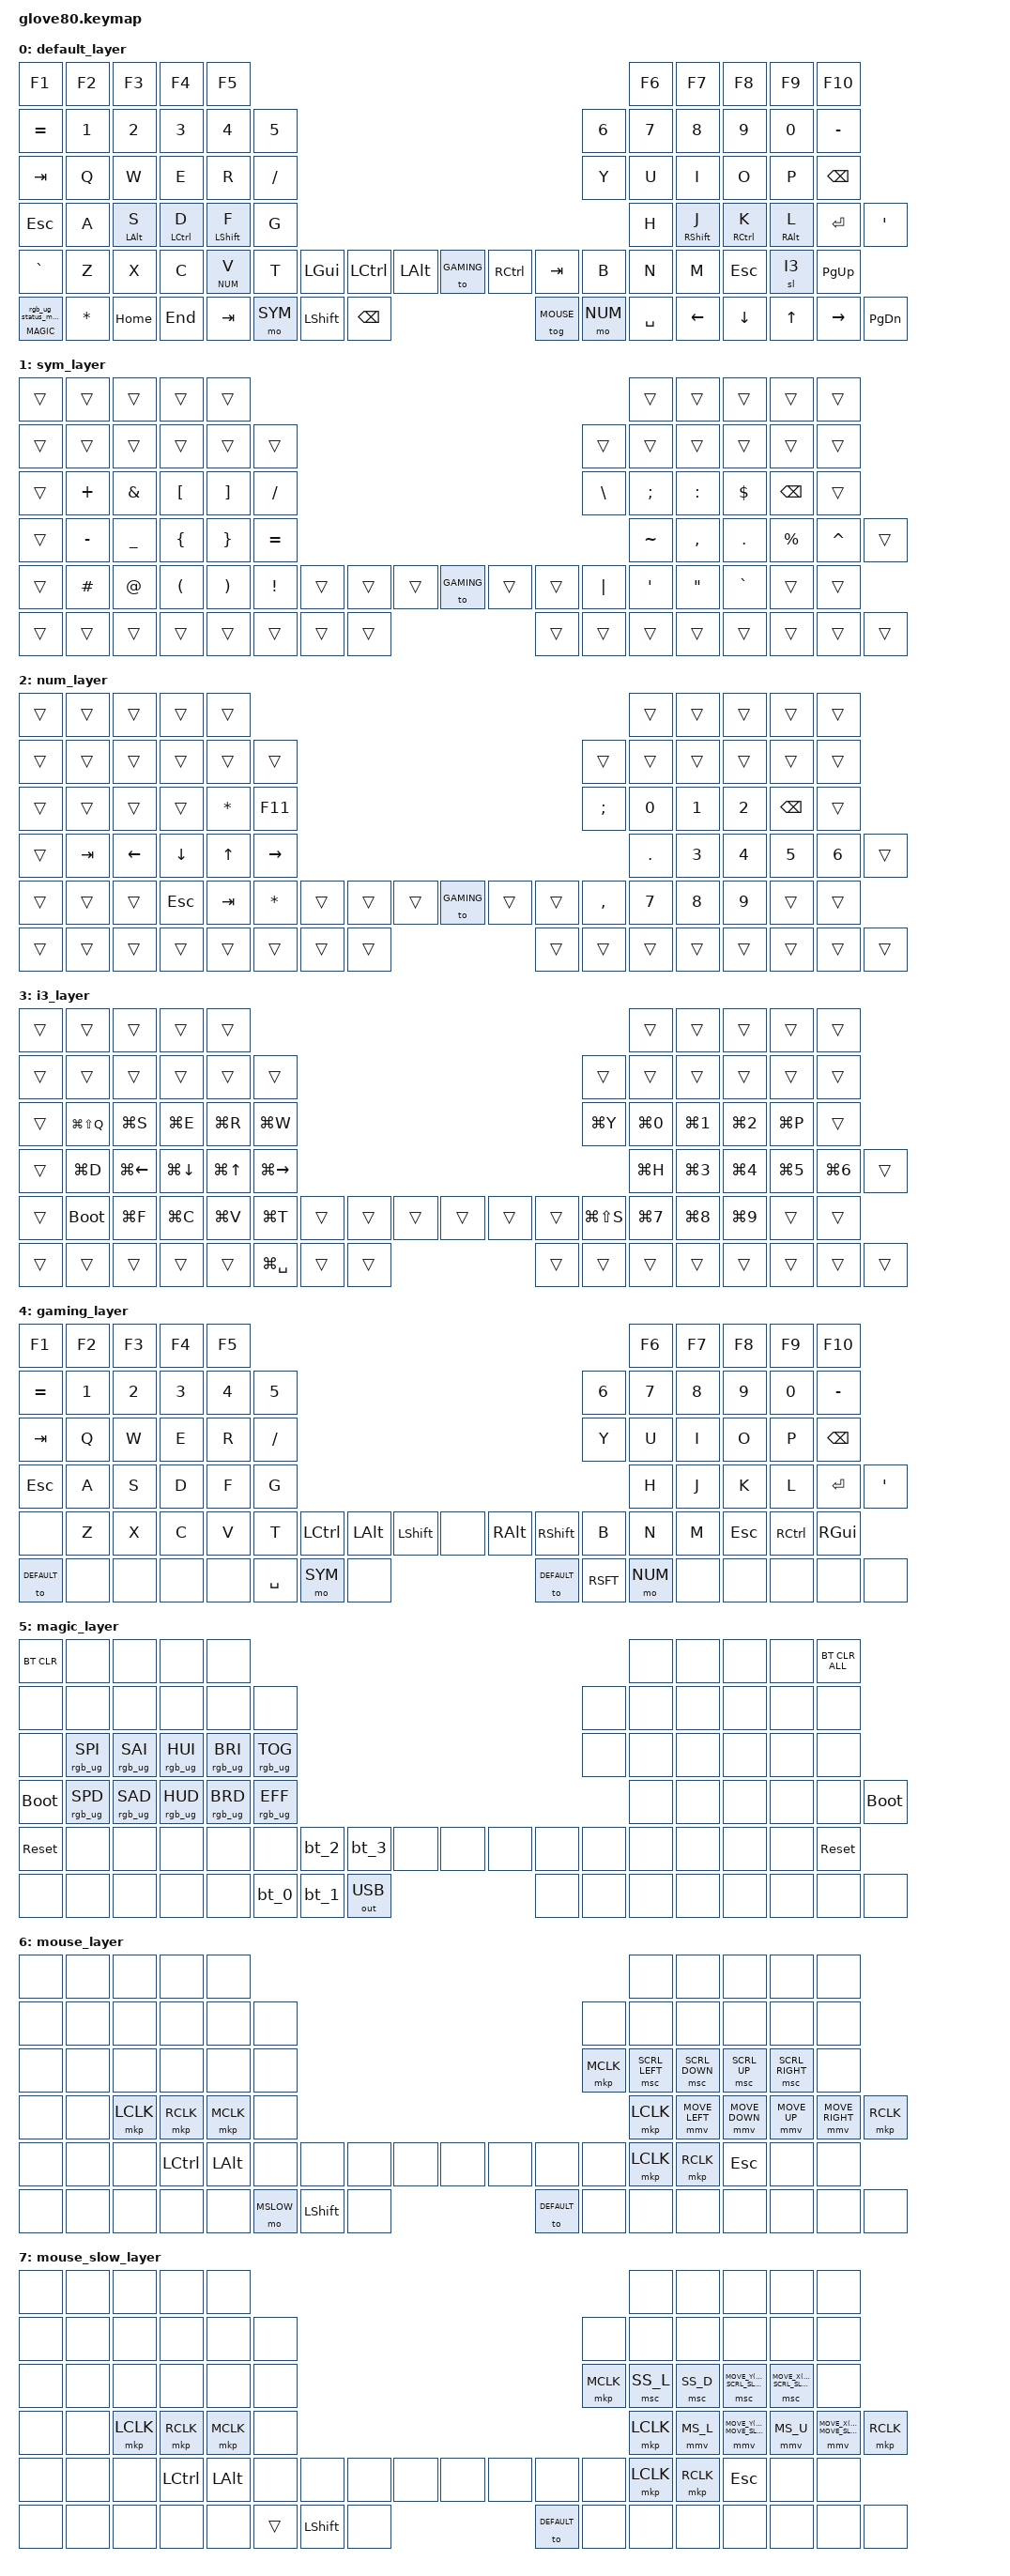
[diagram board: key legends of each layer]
/*
 * Copyright (c) 2020 The ZMK Contributors
 *
 * SPDX-License-Identifier: MIT
 */

#include <behaviors.dtsi>
#include <dt-bindings/zmk/keys.h>
#include <dt-bindings/zmk/bt.h>
#include <dt-bindings/zmk/ext_power.h>
#include <dt-bindings/zmk/outputs.h>
#include <dt-bindings/zmk/rgb.h>

#define ZMK_POINTING_DEFAULT_MOVE_VAL 1500
#define ZMK_POINTING_DEFAULT_SCRL_VAL 20
#include <dt-bindings/zmk/mouse.h>

#define DEFAULT 0
#define SYM     1
#define NUM     2
#define I3      3
#define GAMING  4
#define MAGIC   5
#define MOUSE   6
#define MSLOW   7

#define U_MOUSE_MOVE_SLOW 200
#define U_MOUSE_SCRL_SLOW 4

#define MS_U MOVE_Y(-U_MOUSE_MOVE_SLOW)
#define MS_D MOVE_Y(U_MOUSE_MOVE_SLOW)
#define MS_L MOVE_X(-U_MOUSE_MOVE_SLOW)
#define MS_R MOVE_X(U_MOUSE_MOVE_SLOW)
#define SS_U MOVE_Y(U_MOUSE_SCRL_SLOW)
#define SS_D MOVE_Y(-U_MOUSE_SCRL_SLOW)
#define SS_L MOVE_X(-U_MOUSE_SCRL_SLOW)
#define SS_R MOVE_X(U_MOUSE_SCRL_SLOW)

#define U_MOUSE_MOVE_SLOW 200
#define U_MOUSE_SCRL_SLOW 4

&sl {
    ignore-modifiers;
};

/ {
    behaviors {
        // left hand homerow mod — only triggers hold on right-hand keypresses
        hml: home_row_left {
            compatible = "zmk,behavior-hold-tap";
            #binding-cells = <2>;
            flavor = "balanced";
            tapping-term-ms = <280>;
            quick-tap-ms = <175>;
            require-prior-idle-ms = <150>;
            bindings = <&kp>, <&kp>;
            hold-trigger-on-release;
            hold-trigger-key-positions = <
                5  6  7  8  9
                16 17 18 19 20 21
                28 29 30 31 32 33
                40 41 42 43 44 45
                58 59 60 61 62 63
                75 76 77 78 79
                55 56 57 72 73 74
            >;
        };

        // right hand homerow mod — only triggers hold on left-hand keypresses
        hmr: home_row_right {
            compatible = "zmk,behavior-hold-tap";
            #binding-cells = <2>;
            flavor = "balanced";
            tapping-term-ms = <280>;
            quick-tap-ms = <175>;
            require-prior-idle-ms = <150>;
            bindings = <&kp>, <&kp>;
            hold-trigger-on-release;
            hold-trigger-key-positions = <
                0  1  2  3  4
                10 11 12 13 14 15
                22 23 24 25 26 27
                34 35 36 37 38 39
                46 47 48 49 50 51
                64 65 66 67 68
                52 53 54 69 70 71
            >;
        };

        magic: magic_hold_tap {
            compatible = "zmk,behavior-hold-tap";
            label = "MAGIC_HOLD_TAP";
            #binding-cells = <2>;
            flavor = "tap-preferred";
            tapping-term-ms = <200>;
            bindings = <&mo>, <&rgb_ug_status_macro>;
        };
    };

    combos {
        compatible = "zmk,combos";
        combo_zx_gui {
            timeout-ms = <50>;
            key-positions = <47 48>;
            bindings = <&sk LGUI>;
        };
    };

    macros {
        rgb_ug_status_macro: rgb_ug_status_macro_0 {
            label = "RGB_UG_STATUS";
            compatible = "zmk,behavior-macro";
            #binding-cells = <0>;
            bindings
                = <&rgb_ug RGB_STATUS>;
        };

        bt_0: bt_profile_macro_0 {
            label = "BT_0";
            compatible = "zmk,behavior-macro";
            #binding-cells = <0>;
            bindings
                = <&out OUT_BLE>,
                  <&bt BT_SEL 0>;
        };

        bt_1: bt_profile_macro_1 {
            label = "BT_1";
            compatible = "zmk,behavior-macro";
            #binding-cells = <0>;
            bindings
                = <&out OUT_BLE>,
                  <&bt BT_SEL 1>;
        };

        bt_2: bt_profile_macro_2 {
            label = "BT_2";
            compatible = "zmk,behavior-macro";
            #binding-cells = <0>;
            bindings
                = <&out OUT_BLE>,
                  <&bt BT_SEL 2>;
        };

        bt_3: bt_profile_macro_3 {
            label = "BT_3";
            compatible = "zmk,behavior-macro";
            #binding-cells = <0>;
            bindings
                = <&out OUT_BLE>,
                  <&bt BT_SEL 3>;
        };
    };

    keymap {
        compatible = "zmk,keymap";

        default_layer {
            // ---------------------------------------------------------------------------------------------------------------------------------
            // |  F1   |  F2 |  F3 |  F4  |  F5  |                                                               |  F6   |  F7   |  F8  |   F9  |  F10 |
            // |  =    |  1  |  2  |  3   |  4   |  5   |                                                 |  6   |   7   |   8   |  9   |   0   |   -  |
            // |  TAB  |  Q  |  W  |  E   |  R   |  /   |                                                 |  Y   |   U   |   I   |  O   |   P   |   \  |
            // |  ESC  |  A  | A/S | C/D  | S/F  |  G   |                                                 |  H   |  S/J  |  C/K  | A/L  |  RET  |   '  |
            // |   `   |  Z  |  X  |  C   |NUM/V |  T   | LSHFT | LCTRL | LALT  | | RALT  | RCTRL | RSHFT |  B   |   N   |   M   | ESC  |  i3   | PGUP |
            // | MAGIC | HOME| END | LEFT | RIGHT|      | BSPC  | DEL   | SYM   | | SPC   |  NUM  |       |      |  UP   | DOWN  |  [   |   ]   | PGDN |

            bindings = <
            &kp F1         &kp F2   &kp F3      &kp F4      &kp F5                                                                                                    &kp F6  &kp F7         &kp F8         &kp F9      &kp F10
            &kp EQUAL      &kp N1   &kp N2      &kp N3      &kp N4      &kp N5                                                                              &kp N6    &kp N7  &kp N8         &kp N9         &kp N0      &kp MINUS
            &kp TAB        &kp Q    &kp W       &kp E       &kp R       &kp FSLH                                                                             &kp Y     &kp U   &kp I          &kp O          &kp P       &kp BSPC
            &kp ESC        &kp A    &hml LALT S  &hml LCTRL D  &hml LSHFT F  &kp G                                                                           &kp H     &hmr RSHFT J  &hmr RCTRL K  &hmr RALT L  &kp RET         &kp SQT
            &kp GRAVE      &kp Z    &kp X       &kp C       &lt NUM V   &kp T   &kp LGUI    &kp LCTRL   &kp LALT   &to GAMING  &kp RCTRL &kp TAB             &kp B     &kp N   &kp M          &kp ESC        &sl I3      &kp PG_UP
            &magic MAGIC 0 &kp ASTRK  &kp HOME     &kp END    &kp TAB           &mo SYM     &kp LSHFT   &kp BSPC    &tog MOUSE &mo NUM   &kp SPACE                           &kp LEFT &kp DOWN       &kp UP         &kp RIGHT   &kp PG_DN
            >;
        };

        sym_layer {
            // ---------------------------------------------------------------------------------------------------------------------------------
            // symbols layer — matches altair_x layer 1
            // |       |     |     |      |      |                                                               |       |       |      |       |      |
            // |       |     |     |      |      |      |                                                 |      |       |       |      |       |      |
            // |       |  +  |  &  |  [   |  ]   |  /   |                                                 |  \   |   ;   |   :   |  $   | BSPC  |      |
            // |       |  -  |  _  |  {   |  }   |  =   |                                                 |  ~   |   ,   |   .   |  %   |   ^   |      |
            // |       |  #  |  @  |  (   |  )   |  !   |       |       |       | |GAMING|       |       |  |   |   '   |   "   |  `   |       |      |
            // |       |     |     |      |      |      |       |       |       | |       |       |       |      |       |       |      |       |      |

            bindings = <
            &trans         &trans     &trans      &trans      &trans                                                                                                      &trans        &trans       &trans         &trans      &trans
            &trans         &trans     &trans      &trans      &trans      &trans                                                                              &trans      &trans        &trans       &trans         &trans      &trans
            &trans         &kp PLUS   &kp AMPS    &kp LBKT    &kp RBKT    &kp FSLH                                                                           &kp BSLH    &kp SEMI      &kp COLON    &kp DLLR       &kp BSPC    &trans
            &trans         &kp MINUS  &kp UNDER   &kp LBRC    &kp RBRC    &kp EQUAL                                                                          &kp TILDE   &kp COMMA     &kp DOT      &kp PRCNT      &kp CARET   &trans
            &trans         &kp HASH   &kp AT      &kp LPAR    &kp RPAR    &kp EXCL  &trans      &trans      &trans     &to GAMING &trans   &trans             &kp PIPE    &kp SQT       &kp DQT      &kp GRAVE      &trans      &trans
            &trans         &trans     &trans      &trans      &trans                &trans      &trans      &trans     &trans     &trans   &trans                         &trans        &trans       &trans         &trans      &trans
            >;
        };

        num_layer {
            // ---------------------------------------------------------------------------------------------------------------------------------
            // num + nav layer — matches altair_x layer 2
            // |       |     |     |      |      |                                                               |       |       |      |       |      |
            // |       |     |     |      |      |      |                                                 |      |       |       |      |       |      |
            // |       |     |     |      |  *   | F11  |                                                 |  ;   |   0   |   1   |  2   | BSPC  |      |
            // |       | TAB | LEFT| DOWN |  UP  | RIGHT|                                                 |  .   |   3   |   4   |  5   |   6   |      |
            // |       |     |     | ESC  | TAB  |  *   |       |       |       | |GAMING|       |       |  ,   |   7   |   8   |  9   |       |      |
            // |       |     |     |      |      |      |       |       |       | |       |       |       |      |       |       |      |       |      |

            bindings = <
            &trans         &trans     &trans      &trans      &trans                                                                                                      &trans        &trans       &trans         &trans      &trans
            &trans         &trans     &trans      &trans      &trans      &trans                                                                              &trans      &trans        &trans       &trans         &trans      &trans
            &trans         &trans     &trans      &trans      &kp ASTRK   &kp F11                                                                             &kp SEMI    &kp N0        &kp N1       &kp N2         &kp BSPC    &trans
            &trans         &kp TAB    &kp LEFT    &kp DOWN    &kp UP      &kp RIGHT                                                                           &kp DOT     &kp N3        &kp N4       &kp N5         &kp N6      &trans
            &trans         &trans     &trans      &kp ESC     &kp TAB     &kp ASTRK &trans      &trans      &trans     &to GAMING &trans   &trans              &kp COMMA   &kp N7        &kp N8       &kp N9         &trans      &trans
            &trans         &trans     &trans      &trans      &trans                &trans      &trans      &trans     &trans     &trans   &trans                          &trans        &trans       &trans         &trans      &trans
            >;
        };

        i3_layer {
            // ---------------------------------------------------------------------------------------------------------------------------------
            // i3/gui shortcuts layer — matches altair_x layer 3

            bindings = <
            &trans              &trans          &trans           &trans           &trans                                                                                                                                  &trans          &trans          &trans          &trans          &trans
            &trans              &trans          &trans           &trans           &trans           &trans                                                                                                      &trans      &trans          &trans          &trans          &trans          &trans
            &trans              &kp LG(LS(Q))  &kp LG(S)       &kp LG(E)       &kp LG(R)       &kp LG(W)                                                                                                    &kp LG(Y)  &kp LG(N0)     &kp LG(N1)     &kp LG(N2)     &kp LG(P)      &trans
            &trans              &kp LG(D)      &kp LG(LEFT)    &kp LG(DOWN)    &kp LG(UP)      &kp LG(RIGHT)                                                                                                &kp LG(H)  &kp LG(N3)     &kp LG(N4)     &kp LG(N5)     &kp LG(N6)     &trans
            &trans              &bootloader    &kp LG(F)       &kp LG(C)       &kp LG(V)       &kp LG(T)     &trans      &trans      &trans     &trans    &trans    &trans                                   &kp LG(LS(S)) &kp LG(N7) &kp LG(N8)     &kp LG(N9)     &trans          &trans
            &trans              &trans         &trans           &trans          &trans                        &kp LG(SPACE) &trans    &trans     &trans    &trans    &trans                                                &trans          &trans          &trans          &trans          &trans
            >;
        };

        gaming_layer {
            // ---------------------------------------------------------------------------------------------------------------------------------
            // gaming layer — plain qwerty, no homerow mods, matches altair_x layer 4

            bindings = <
            &kp F1         &kp F2   &kp F3      &kp F4      &kp F5                                                                                                    &kp F6  &kp F7         &kp F8         &kp F9      &kp F10
            &kp EQUAL      &kp N1   &kp N2      &kp N3      &kp N4      &kp N5                                                                              &kp N6    &kp N7  &kp N8         &kp N9         &kp N0      &kp MINUS
            &kp TAB        &kp Q    &kp W       &kp E       &kp R       &kp FSLH                                                                             &kp Y     &kp U   &kp I          &kp O          &kp P       &kp BSPC
            &kp ESC        &kp A    &kp S       &kp D       &kp F       &kp G                                                                                &kp H     &kp J   &kp K          &kp L          &kp RET     &kp SQT
            &none          &kp Z    &kp X       &kp C       &kp V       &kp T     &kp LCTL    &kp LALT    &kp LSHFT  &none     &kp RALT  &kp RSHFT            &kp B     &kp N   &kp M          &kp ESC        &kp RCTRL   &kp RGUI
            &to DEFAULT    &none    &none       &none       &none                 &kp SPACE   &mo SYM     &none      &to DEFAULT &kp RSFT  &mo NUM                        &none   &none          &none          &none       &none
            >;
        };

        magic_layer {
            bindings = <
            &bt BT_CLR        &none               &none           &none           &none                                                                                                           &none      &none      &none      &none      &bt BT_CLR_ALL
            &none             &none               &none           &none           &none           &none                                                                                &none      &none      &none      &none      &none      &none
            &none             &rgb_ug RGB_SPI     &rgb_ug RGB_SAI &rgb_ug RGB_HUI &rgb_ug RGB_BRI &rgb_ug RGB_TOG                                                                      &none      &none      &none      &none      &none      &none
            &bootloader       &rgb_ug RGB_SPD     &rgb_ug RGB_SAD &rgb_ug RGB_HUD &rgb_ug RGB_BRD &rgb_ug RGB_EFF                                                                      &none      &none      &none      &none      &none      &bootloader
            &sys_reset        &none               &none           &none           &none           &none           &bt_2     &bt_3     &none            &none     &none     &none       &none      &none      &none      &none      &none      &sys_reset
            &none             &none               &none           &none           &none                           &bt_0     &bt_1     &out OUT_USB     &none     &none     &none                  &none      &none      &none      &none      &none
            >;
        };

        mouse_layer {
            // ---------------------------------------------------------------------------------------------------------------------------------
            // mouse layer — vim-style movement on right hand, clicks on left hand
            // |       |     |     |      |      |                                                               |       |       |      |       |      |
            // |       |     |     |      |      |      |                                                 |      |       |       |      |       |      |
            // |       |     |     |      |      |      |                                                 |      | SC_L  | SC_D  | SC_U | SC_R  |      |
            // |       |     | LCLK| RCLK | MCLK |      |                                                 |      | M_L   | M_D   | M_U  | M_R   |      |
            // |       |     |     | LCTRL| LALT |      |       |       |       | |       |       |       |      | LCLK  | RCLK  | ESC  |       |      |
            // |       |     |     |      |      |      |       | LSHFT |       | |DEFAULT|       |       |      |       |       |      |       |      |

            bindings = <
            &none          &none    &none       &none       &none                                                                                                             &none              &none              &none              &none               &none
            &none          &none    &none       &none       &none       &none                                                                                       &none     &none              &none              &none              &none               &none
            &none          &none    &none       &none       &none       &none                                                                                       &mkp MCLK      &msc SCRL_LEFT &msc SCRL_DOWN &msc SCRL_UP       &msc SCRL_RIGHT     &none
            &none          &none    &mkp LCLK   &mkp RCLK   &mkp MCLK   &none                                                                                      &mkp LCLK      &mmv MOVE_LEFT &mmv MOVE_DOWN &mmv MOVE_UP       &mmv MOVE_RIGHT     &mkp RCLK
            &none          &none    &none       &kp LCTRL   &kp LALT    &none   &none       &none       &none      &none     &none     &none                        &none     &mkp LCLK          &mkp RCLK          &kp ESC            &none               &none
            &none          &none    &none       &none       &none               &mo MSLOW   &kp LSHFT   &none      &to DEFAULT &none   &none                                  &none              &none              &none              &none               &none
            >;
        };

        mouse_slow_layer {
            // slow mouse — same layout as mouse layer but with reduced speed values
            // activated by holding inner left thumb while in mouse layer

            bindings = <
            &none          &none    &none       &none       &none                                                                                                             &none          &none          &none          &none           &none
            &none          &none    &none       &none       &none       &none                                                                                       &none     &none          &none          &none          &none           &none
            &none          &none    &none       &none       &none       &none                                                                                       &mkp MCLK  &msc SS_L      &msc SS_D      &msc SS_U      &msc SS_R       &none
            &none          &none    &mkp LCLK   &mkp RCLK   &mkp MCLK   &none                                                                                      &mkp LCLK  &mmv MS_L      &mmv MS_D      &mmv MS_U      &mmv MS_R       &mkp RCLK
            &none          &none    &none       &kp LCTRL   &kp LALT    &none   &none       &none       &none      &none     &none     &none                        &none     &mkp LCLK      &mkp RCLK      &kp ESC        &none           &none
            &none          &none    &none       &none       &none               &trans      &kp LSHFT   &none      &to DEFAULT &none   &none                                  &none          &none          &none          &none           &none
            >;
        };
    };
};
